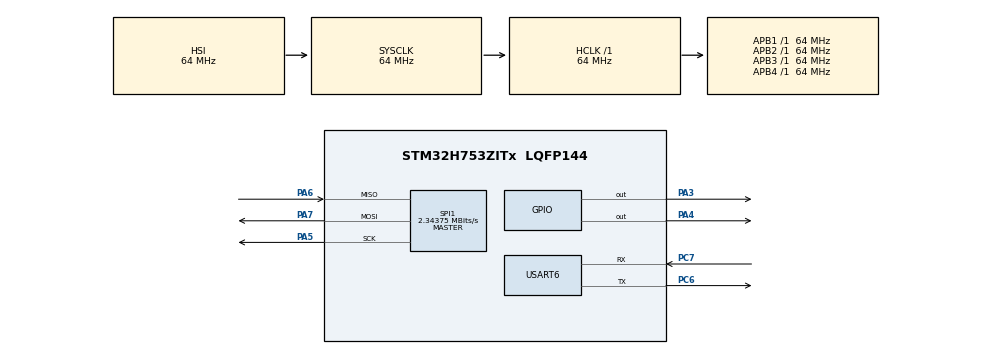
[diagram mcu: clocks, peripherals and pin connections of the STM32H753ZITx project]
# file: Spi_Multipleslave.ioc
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CORTEX_M7.CPU_DCache=Disabled
CORTEX_M7.CPU_ICache=Disabled
CORTEX_M7.MPU_Control=__NULL
CORTEX_M7.default_mode_Activation=1
Mcu.Family=STM32H7
Mcu.Name=STM32H753ZITx
Mcu.Package=LQFP144
NVIC.PriorityGroup=NVIC_PRIORITYGROUP_4
NVIC.SPI1_IRQn=true\:0\:0\:false\:false\:true\:true\:true\:true
PA3.Signal=GPIO_Output
PA4.Signal=GPIO_Output
PA5.Mode=Full_Duplex_Master
PA5.Signal=SPI1_SCK
PA6.Mode=Full_Duplex_Master
PA6.Signal=SPI1_MISO
PA7.Mode=Full_Duplex_Master
PA7.Signal=SPI1_MOSI
PC6.Mode=Asynchronous
PC6.Signal=USART6_TX
PC7.Mode=Asynchronous
PC7.Signal=USART6_RX
ProjectManager.HeapSize=0x200
ProjectManager.StackSize=0x400
ProjectManager.TargetToolchain=STM32CubeIDE
RCC.ADCFreq_Value=129000000
RCC.APB1Freq_Value=64000000
RCC.APB2Freq_Value=64000000
RCC.APB3Freq_Value=64000000
RCC.APB4Freq_Value=64000000
RCC.CortexFreq_Value=64000000
RCC.DIVM1=4
RCC.DIVN1=9
RCC.DIVQ1=1
RCC.HCLKFreq_Value=64000000
RCC.HSE_VALUE=8000000
RCC.PLLFRACN=3072
RCC.PWR_Regulator_Voltage_Scale=PWR_REGULATOR_VOLTAGE_SCALE2
RCC.SYSCLKFreq_VALUE=64000000
RCC.USBFreq_Value=150000000
SPI1.BaudRatePrescaler=SPI_BAUDRATEPRESCALER_64
SPI1.CalculateBaudRate=2.34375 MBits/s
SPI1.DataSize=SPI_DATASIZE_8BIT
SPI1.Direction=SPI_DIRECTION_2LINES
SPI1.Mode=SPI_MODE_MASTER
SPI1.VirtualType=VM_MASTER
USART6.VirtualMode-Asynchronous=VM_ASYNC
VP_MEMORYMAP_VS_MEMORYMAP.Mode=CurAppReg
board=NUCLEO-H753ZI

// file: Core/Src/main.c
/* USER CODE BEGIN Header */
/**
  ******************************************************************************
  * @file           : main.c
  * @brief          : SPI1 Master (IT) -> 2 Arduino Slaves + USART6 output
  ******************************************************************************
  */
/* USER CODE END Header */
#include "main.h"

/* USER CODE BEGIN Includes */
#include <string.h>
#include <stdio.h>
/* USER CODE END Includes */

SPI_HandleTypeDef hspi1;

UART_HandleTypeDef huart6;

/* USER CODE BEGIN PV */
typedef enum
{
  SLAVE_1 = 1,
  SLAVE_2 = 2
} slave_t;

static volatile uint8_t spi_busy = 0;
static volatile uint8_t spi_done = 0;
static volatile slave_t current_slave = SLAVE_1;

static uint8_t txByte = 0x00;
static uint8_t rxByte = 0x00;

static char uartBuf[96];
/* USER CODE END PV */

void SystemClock_Config(void);
static void MX_GPIO_Init(void);
static void MX_SPI1_Init(void);
static void MX_USART6_UART_Init(void);
/* USER CODE BEGIN PFP */
static void CS1_Low(void);
static void CS1_High(void);
static void CS2_Low(void);
static void CS2_High(void);

static void uart_print(const char *s);

static void SPI1_StartTransfer_IT(slave_t slave, uint8_t data);
/* USER CODE END PFP */

/* USER CODE BEGIN 0 */

static void CS1_Low(void)  { HAL_GPIO_WritePin(GPIOA, GPIO_PIN_4, GPIO_PIN_RESET); }
static void CS1_High(void) { HAL_GPIO_WritePin(GPIOA, GPIO_PIN_4, GPIO_PIN_SET);   }

static void CS2_Low(void)  { HAL_GPIO_WritePin(GPIOA, GPIO_PIN_3, GPIO_PIN_RESET); }
static void CS2_High(void) { HAL_GPIO_WritePin(GPIOA, GPIO_PIN_3, GPIO_PIN_SET);   }

static void uart_print(const char *s)
{
  HAL_UART_Transmit(&huart6, (uint8_t*)s, (uint16_t)strlen(s), 200);
}

/**
  * Start SPI transfer (1 byte) using interrupts to selected slave.
  * Uses PA4 as CS for Slave1, PA3 as CS for Slave2.
  */
static void SPI1_StartTransfer_IT(slave_t slave, uint8_t data)
{
  if (spi_busy) return;

  spi_busy = 1;
  spi_done = 0;
  current_slave = slave;

  txByte = data;

  // Deassert both CS first (safety)
  CS1_High();
  CS2_High();

  // Assert chosen CS
  if (slave == SLAVE_1) CS1_Low();
  else                 CS2_Low();

  if (HAL_SPI_TransmitReceive_IT(&hspi1, &txByte, &rxByte, 1) != HAL_OK)
  {
    // On failure, release CS and clear busy
    CS1_High();
    CS2_High();
    spi_busy = 0;
    uart_print("HAL_SPI_TransmitReceive_IT failed\r\n");
  }
}

/**
  * SPI completion callback (interrupt)
  */
void HAL_SPI_TxRxCpltCallback(SPI_HandleTypeDef *hspi)
{
  if (hspi->Instance == SPI1)
  {
    // Release the CS of whichever slave was selected
    if (current_slave == SLAVE_1) CS1_High();
    else                          CS2_High();

    spi_busy = 0;
    spi_done = 1;
  }
}

/**
  * SPI error callback
  */
void HAL_SPI_ErrorCallback(SPI_HandleTypeDef *hspi)
{
  if (hspi->Instance == SPI1)
  {
    CS1_High();
    CS2_High();
    spi_busy = 0;
    spi_done = 0;
    uart_print("SPI1 Error Callback\r\n");
  }
}

/* USER CODE END 0 */

int main(void)
{

  /* MCU Configuration--------------------------------------------------------*/

  /* Reset of all peripherals, Initializes the Flash interface and the Systick. */
  HAL_Init();

  /* Configure the system clock */
  SystemClock_Config();

  /* Initialize all configured peripherals */
  MX_GPIO_Init();
  MX_SPI1_Init();
  MX_USART6_UART_Init();
  /* USER CODE BEGIN 2 */
  // IMPORTANT: Idle state for CS must be HIGH
  CS1_High();
  CS2_High();

  uart_print("\r\n=== STM32 SPI1 Master (IT) -> 2 Slaves Demo ===\r\n");
  uart_print("CS1=PA4, CS2=PA3, SPI Mode0, Prescaler=64, USART6=115200\r\n");

  // We'll alternate between slaves
  slave_t next_slave = SLAVE_1;
  uint8_t count1 = 0x00;
  uint8_t count2 = 0xA0;  // different range so you can see difference

  // Start first transaction
  SPI1_StartTransfer_IT(next_slave, count1);
  /* USER CODE END 2 */

  /* Infinite loop */
  /* USER CODE BEGIN WHILE */

    if (spi_done)
    {
      spi_done = 0;

      // Print which slave replied + data
      int n = snprintf(uartBuf, sizeof(uartBuf),
                       "Slave %d | Sent: 0x%02X | Received: 0x%02X\r\n",
                       (int)current_slave, txByte, rxByte);
      HAL_UART_Transmit(&huart6, (uint8_t*)uartBuf, (uint16_t)n, 200);

      // Slow down output so you can read in TeraTerm
      HAL_Delay(500); // change to 1000 for 1 second

      // Alternate slaves
      if (next_slave == SLAVE_1)
      {
        // Next time talk to Slave 2
        next_slave = SLAVE_2;
        count1++;  // increment slave1 counter (for next time slave1 used)
        SPI1_StartTransfer_IT(next_slave, count2);
      }
      else
      {
        // Next time talk to Slave 1
        next_slave = SLAVE_1;
        count2++;  // increment slave2 counter
        SPI1_StartTransfer_IT(next_slave, count1);
      }
    }

    /* USER CODE END WHILE */

  }
}

void SystemClock_Config(void)
{
  RCC_OscInitTypeDef RCC_OscInitStruct = {0};
  RCC_ClkInitTypeDef RCC_ClkInitStruct = {0};

  /** Supply configuration update enable
  */
  HAL_PWREx_ConfigSupply(PWR_LDO_SUPPLY);

  /** Configure the main internal regulator output voltage
  */
  __HAL_PWR_VOLTAGESCALING_CONFIG(PWR_REGULATOR_VOLTAGE_SCALE2);

  while(!__HAL_PWR_GET_FLAG(PWR_FLAG_VOSRDY)) {}

  /** Initializes the RCC Oscillators according to the specified parameters
  * in the RCC_OscInitTypeDef structure.
  */
  RCC_OscInitStruct.OscillatorType = RCC_OSCILLATORTYPE_HSI;
  RCC_OscInitStruct.HSIState = RCC_HSI_DIV1;
  RCC_OscInitStruct.HSICalibrationValue = RCC_HSICALIBRATION_DEFAULT;
  RCC_OscInitStruct.PLL.PLLState = RCC_PLL_ON;
  RCC_OscInitStruct.PLL.PLLSource = RCC_PLLSOURCE_HSI;
  RCC_OscInitStruct.PLL.PLLM = 4;
  RCC_OscInitStruct.PLL.PLLN = 9;
  RCC_OscInitStruct.PLL.PLLP = 2;
  RCC_OscInitStruct.PLL.PLLQ = 1;
  RCC_OscInitStruct.PLL.PLLR = 2;
  RCC_OscInitStruct.PLL.PLLRGE = RCC_PLL1VCIRANGE_3;
  RCC_OscInitStruct.PLL.PLLVCOSEL = RCC_PLL1VCOMEDIUM;
  RCC_OscInitStruct.PLL.PLLFRACN = 3072;
  if (HAL_RCC_OscConfig(&RCC_OscInitStruct) != HAL_OK)
  {
    Error_Handler();
  }

  /** Initializes the CPU, AHB and APB buses clocks
  */
  RCC_ClkInitStruct.ClockType = RCC_CLOCKTYPE_HCLK|RCC_CLOCKTYPE_SYSCLK
                              |RCC_CLOCKTYPE_PCLK1|RCC_CLOCKTYPE_PCLK2
                              |RCC_CLOCKTYPE_D3PCLK1|RCC_CLOCKTYPE_D1PCLK1;
  RCC_ClkInitStruct.SYSCLKSource = RCC_SYSCLKSOURCE_HSI;
  RCC_ClkInitStruct.SYSCLKDivider = RCC_SYSCLK_DIV1;
  RCC_ClkInitStruct.AHBCLKDivider = RCC_HCLK_DIV1;
  RCC_ClkInitStruct.APB3CLKDivider = RCC_APB3_DIV1;
  RCC_ClkInitStruct.APB1CLKDivider = RCC_APB1_DIV1;
  RCC_ClkInitStruct.APB2CLKDivider = RCC_APB2_DIV1;
  RCC_ClkInitStruct.APB4CLKDivider = RCC_APB4_DIV1;

  if (HAL_RCC_ClockConfig(&RCC_ClkInitStruct, FLASH_LATENCY_1) != HAL_OK)
  {
    Error_Handler();
  }
}

static void MX_SPI1_Init(void)
{

  /* SPI1 parameter configuration*/
  hspi1.Instance = SPI1;
  hspi1.Init.Mode = SPI_MODE_MASTER;
  hspi1.Init.Direction = SPI_DIRECTION_2LINES;
  hspi1.Init.DataSize = SPI_DATASIZE_8BIT;
  hspi1.Init.CLKPolarity = SPI_POLARITY_LOW;
  hspi1.Init.CLKPhase = SPI_PHASE_1EDGE;
  hspi1.Init.NSS = SPI_NSS_SOFT;
  hspi1.Init.BaudRatePrescaler = SPI_BAUDRATEPRESCALER_64;
  hspi1.Init.FirstBit = SPI_FIRSTBIT_MSB;
  hspi1.Init.TIMode = SPI_TIMODE_DISABLE;
  hspi1.Init.CRCCalculation = SPI_CRCCALCULATION_DISABLE;
  hspi1.Init.CRCPolynomial = 0x0;
  hspi1.Init.NSSPMode = SPI_NSS_PULSE_ENABLE;
  hspi1.Init.NSSPolarity = SPI_NSS_POLARITY_LOW;
  hspi1.Init.FifoThreshold = SPI_FIFO_THRESHOLD_01DATA;
  hspi1.Init.TxCRCInitializationPattern = SPI_CRC_INITIALIZATION_ALL_ZERO_PATTERN;
  hspi1.Init.RxCRCInitializationPattern = SPI_CRC_INITIALIZATION_ALL_ZERO_PATTERN;
  hspi1.Init.MasterSSIdleness = SPI_MASTER_SS_IDLENESS_00CYCLE;
  hspi1.Init.MasterInterDataIdleness = SPI_MASTER_INTERDATA_IDLENESS_00CYCLE;
  hspi1.Init.MasterReceiverAutoSusp = SPI_MASTER_RX_AUTOSUSP_DISABLE;
  hspi1.Init.MasterKeepIOState = SPI_MASTER_KEEP_IO_STATE_DISABLE;
  hspi1.Init.IOSwap = SPI_IO_SWAP_DISABLE;
  if (HAL_SPI_Init(&hspi1) != HAL_OK)
  {
    Error_Handler();
  }

}

static void MX_USART6_UART_Init(void)
{

  huart6.Instance = USART6;
  huart6.Init.BaudRate = 115200;
  huart6.Init.WordLength = UART_WORDLENGTH_8B;
  huart6.Init.StopBits = UART_STOPBITS_1;
  huart6.Init.Parity = UART_PARITY_NONE;
  huart6.Init.Mode = UART_MODE_TX_RX;
  huart6.Init.HwFlowCtl = UART_HWCONTROL_NONE;
  huart6.Init.OverSampling = UART_OVERSAMPLING_16;
  huart6.Init.OneBitSampling = UART_ONE_BIT_SAMPLE_DISABLE;
  huart6.Init.ClockPrescaler = UART_PRESCALER_DIV1;
  huart6.AdvancedInit.AdvFeatureInit = UART_ADVFEATURE_NO_INIT;
  if (HAL_UART_Init(&huart6) != HAL_OK)
  {
    Error_Handler();
  }
  if (HAL_UARTEx_SetTxFifoThreshold(&huart6, UART_TXFIFO_THRESHOLD_1_8) != HAL_OK)
  {
    Error_Handler();
  }
  if (HAL_UARTEx_SetRxFifoThreshold(&huart6, UART_RXFIFO_THRESHOLD_1_8) != HAL_OK)
  {
    Error_Handler();
  }
  if (HAL_UARTEx_DisableFifoMode(&huart6) != HAL_OK)
  {
    Error_Handler();
  }

}

static void MX_GPIO_Init(void)
{
  GPIO_InitTypeDef GPIO_InitStruct = {0};

  /* GPIO Ports Clock Enable */
  __HAL_RCC_GPIOA_CLK_ENABLE();
  __HAL_RCC_GPIOC_CLK_ENABLE();

  /*Configure GPIO pin Output Level */
  HAL_GPIO_WritePin(GPIOA, GPIO_PIN_3|GPIO_PIN_4, GPIO_PIN_RESET);

  /*Configure GPIO pins : PA3 PA4 */
  GPIO_InitStruct.Pin = GPIO_PIN_3|GPIO_PIN_4;
  GPIO_InitStruct.Mode = GPIO_MODE_OUTPUT_PP;
  GPIO_InitStruct.Pull = GPIO_NOPULL;
  GPIO_InitStruct.Speed = GPIO_SPEED_FREQ_LOW;
  HAL_GPIO_Init(GPIOA, &GPIO_InitStruct);

}

void Error_Handler(void)
{
  __disable_irq();
  while (1)
  {
  }
}
